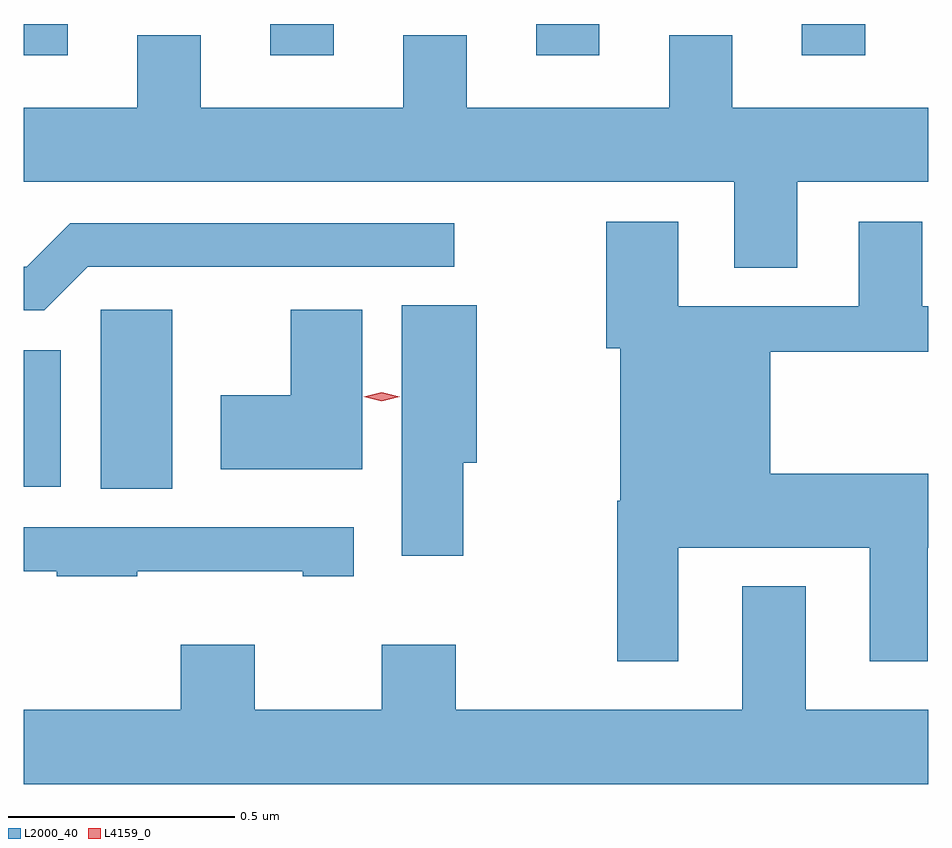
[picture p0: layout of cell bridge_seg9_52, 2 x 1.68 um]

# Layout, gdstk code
import gdstk
lib = gdstk.Library(unit=1e-6, precision=1e-09)
def R(c, l, rs):  # rectangles x0, y0, x1, y1
    for r in rs: c.add(gdstk.rectangle(r[:2], r[2:], *l))
def A(c, l, x, y, w, h, nx, ny, dx, dy):  # array of equal rectangles
    R(c, l, [(x+i*dx, y+j*dy, x+i*dx+w, y+j*dy+h) for i in range(nx) for j in range(ny)])
def P(c, l, *ps):  # polygons
    for p in ps: c.add(gdstk.Polygon(p, *l))
L2000_40 = (2000, 40)
L4159_0 = (4159, 0)

bridge_seg9_52 = lib.new_cell('bridge_seg9_52')
A(bridge_seg9_52, L2000_40, 1103.909, 1190.04, 0.14, 0.069, 3, 1, 0.588, 0)
R(bridge_seg9_52, L2000_40, [(1103.534,1189.081,1103.692,1189.477), (1103.364,1189.085,1103.446,1189.387), (1103.364,1190.04,1103.461,1190.109)])
P(bridge_seg9_52, L2000_40, [(1105.075,1189.76),(1105.364,1189.76),(1105.364,1189.924),(1104.931,1189.924),(1104.931,1190.084),(1104.791,1190.084),(1104.791,1189.924),(1104.343,1189.924),(1104.343,1190.084),(1104.203,1190.084),(1104.203,1189.924),(1103.755,1189.924),(1103.755,1190.084),(1103.615,1190.084),(1103.615,1189.924),(1103.364,1189.924),(1103.364,1189.76),(1104.935,1189.76),(1104.935,1189.57),(1105.075,1189.57)],
  [(1104.811,1188.95),(1105.235,1188.95),(1105.235,1188.699),(1105.363,1188.699),(1105.363,1188.95),(1105.364,1188.95),(1105.364,1189.114),(1105.015,1189.114),(1105.015,1189.384),(1105.364,1189.384),(1105.364,1189.485),(1105.351,1189.485),(1105.351,1189.672),(1105.211,1189.672),(1105.211,1189.485),(1104.811,1189.485),(1104.811,1189.672),(1104.652,1189.672),(1104.652,1189.392),(1104.683,1189.392),(1104.683,1189.054),(1104.676,1189.054),(1104.676,1188.699),(1104.811,1188.699)],
  [(1103.505,1189.572),(1104.316,1189.572),(1104.316,1189.668),(1103.466,1189.668),(1103.37,1189.572),(1103.364,1189.572),(1103.364,1189.476),(1103.409,1189.476)],
  [(1104.336,1189.139),(1104.366,1189.139),(1104.366,1189.487),(1104.2,1189.487),(1104.2,1188.933),(1104.336,1188.933)],
  [(1104.112,1189.477),(1103.954,1189.477),(1103.954,1189.288),(1103.799,1189.288),(1103.799,1189.124),(1104.112,1189.124)],
  [(1103.615,1188.899),(1103.981,1188.899),(1103.981,1188.888),(1104.094,1188.888),(1104.094,1188.996),(1103.364,1188.996),(1103.364,1188.899),(1103.437,1188.899),(1103.437,1188.888),(1103.615,1188.888)],
  [(1105.364,1188.592),(1105.093,1188.592),(1105.093,1188.865),(1104.953,1188.865),(1104.953,1188.592),(1104.319,1188.592),(1104.319,1188.736),(1104.155,1188.736),(1104.155,1188.592),(1103.875,1188.592),(1103.875,1188.736),(1103.711,1188.736),(1103.711,1188.592),(1103.364,1188.592),(1103.364,1188.428),(1105.364,1188.428)])
P(bridge_seg9_52, L4159_0, [(1104.156,1189.275),(1104.116,1189.285),(1104.116,1189.285),(1104.116,1189.285),(1104.156,1189.295),(1104.195,1189.285),(1104.195,1189.285),(1104.195,1189.285)])

lib.write_gds('bridge_seg9_52.gds')
